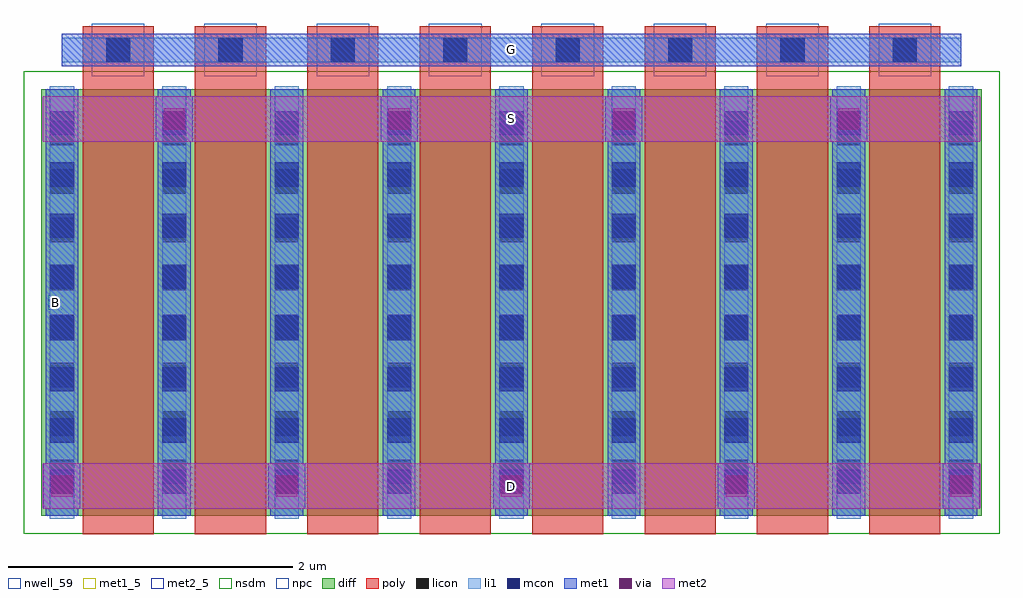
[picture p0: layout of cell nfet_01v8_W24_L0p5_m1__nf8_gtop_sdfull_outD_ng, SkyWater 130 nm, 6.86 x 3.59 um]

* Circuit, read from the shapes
.subckt nfet_01v8_W24_L0p5_m1__nf8_gtop_sdfull_outD_ng B D G S
XM1 S G D B sky130_fd_pr__nfet_01v8 w=3 l=0.5 m=8
.ends

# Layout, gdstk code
import gdstk
lib = gdstk.Library(unit=1e-6, precision=1e-09)
def R(c, l, rs):  # rectangles x0, y0, x1, y1
    for r in rs: c.add(gdstk.rectangle(r[:2], r[2:], *l))
def A(c, l, x, y, w, h, nx, ny, dx, dy):  # array of equal rectangles
    R(c, l, [(x+i*dx, y+j*dy, x+i*dx+w, y+j*dy+h) for i in range(nx) for j in range(ny)])
nwell_59 = (64, 59)
diff = (65, 20)
poly = (66, 20)
licon = (66, 44)
li1 = (67, 20)
mcon = (67, 44)
met1_5 = (68, 5)
met1 = (68, 20)
via = (68, 44)
met2_5 = (69, 5)
met2 = (69, 20)
nsdm = (93, 44)
npc = (95, 20)

sky130_fd_pr__nfet_01v8_ = lib.new_cell('sky130_fd_pr__nfet_01v8_KNT2EL')
R(sky130_fd_pr__nfet_01v8_, diff, [(-3.305,-1.655,3.305,1.345)])
A(sky130_fd_pr__nfet_01v8_, poly, -3.015, -1.785, 0.5, 3.57, 8, 1, 0.79, 0)
A(sky130_fd_pr__nfet_01v8_, licon, -3.245, -1.43, 0.17, 0.17, 9, 8, 0.79, 0.34)
A(sky130_fd_pr__nfet_01v8_, licon, -2.85, 1.535, 0.17, 0.17, 8, 1, 0.79, 0)
A(sky130_fd_pr__nfet_01v8_, li1, -3.245, -1.675, 0.17, 3.04, 9, 1, 0.79, 0)
R(sky130_fd_pr__nfet_01v8_, li1, [(-3.16,1.535,3.16,1.705)])
A(sky130_fd_pr__nfet_01v8_, mcon, -3.245, -1.5, 0.17, 0.17, 9, 8, 0.79, 0.36)
A(sky130_fd_pr__nfet_01v8_, mcon, -2.85, 1.535, 0.17, 0.17, 8, 1, 0.79, 0)
A(sky130_fd_pr__nfet_01v8_, met1, -3.275, -1.655, 0.23, 3, 9, 1, 0.79, 0)
A(sky130_fd_pr__nfet_01v8_, met1, -2.995, 1.505, 0.46, 0.03, 8, 2, 0.79, 0.2)
R(sky130_fd_pr__nfet_01v8_, met1, [(-3.16,1.535,3.16,1.705)])
R(sky130_fd_pr__nfet_01v8_, nsdm, [(-3.43,-1.78,3.43,1.47)])
A(sky130_fd_pr__nfet_01v8_, npc, -2.95, 1.435, 0.37, 0.37, 8, 1, 0.79, 0)
sky130_fd_pr__nfet_01v8_.add(gdstk.Label('D0', (-3.16,-0.155), layer=67, texttype=5))
sky130_fd_pr__nfet_01v8_.add(gdstk.Label('G', (2.765,1.62), layer=67, texttype=5))
sky130_fd_pr__nfet_01v8_.add(gdstk.Label('G', (1.975,1.62), layer=67, texttype=5))
sky130_fd_pr__nfet_01v8_.add(gdstk.Label('G', (1.185,1.62), layer=67, texttype=5))
sky130_fd_pr__nfet_01v8_.add(gdstk.Label('G', (0.395,1.62), layer=67, texttype=5))
sky130_fd_pr__nfet_01v8_.add(gdstk.Label('G', (-0.395,1.62), layer=67, texttype=5))
sky130_fd_pr__nfet_01v8_.add(gdstk.Label('G', (-1.185,1.62), layer=67, texttype=5))
sky130_fd_pr__nfet_01v8_.add(gdstk.Label('G', (-1.975,1.62), layer=67, texttype=5))
sky130_fd_pr__nfet_01v8_.add(gdstk.Label('G', (-2.765,1.62), layer=67, texttype=5))
sky130_fd_pr__nfet_01v8_.add(gdstk.Label('S1', (-2.37,-0.155), layer=67, texttype=5))
sky130_fd_pr__nfet_01v8_.add(gdstk.Label('D2', (-1.58,-0.155), layer=67, texttype=5))
sky130_fd_pr__nfet_01v8_.add(gdstk.Label('S3', (-0.79,-0.155), layer=67, texttype=5))
sky130_fd_pr__nfet_01v8_.add(gdstk.Label('D4', (0,-0.155), layer=67, texttype=5))
sky130_fd_pr__nfet_01v8_.add(gdstk.Label('S5', (0.79,-0.155), layer=67, texttype=5))
sky130_fd_pr__nfet_01v8_.add(gdstk.Label('D6', (1.58,-0.155), layer=67, texttype=5))
sky130_fd_pr__nfet_01v8_.add(gdstk.Label('S7', (2.37,-0.155), layer=67, texttype=5))

nfet_01v8_w24_l0p5_m1__n = lib.new_cell('nfet_01v8_W24_L0p5_m1__nf8_gtop_sdfull_outD_ng')
R(nfet_01v8_w24_l0p5_m1__n, nwell_59, [(0.05,1.58,0.15,1.68)])
R(nfet_01v8_w24_l0p5_m1__n, met1_5, [(0.145,3.29,6.465,3.52)])
A(nfet_01v8_w24_l0p5_m1__n, met1, 0.015, 0.18, 0.26, 0.32, 5, 1, 1.58, 0)
A(nfet_01v8_w24_l0p5_m1__n, met1, 0.805, 2.76, 0.26, 0.32, 4, 1, 1.58, 0)
R(nfet_01v8_w24_l0p5_m1__n, met1, [(0.145,3.29,6.465,3.52)])
A(nfet_01v8_w24_l0p5_m1__n, via, 0.07, 0.265, 0.15, 0.15, 5, 1, 1.58, 0)
A(nfet_01v8_w24_l0p5_m1__n, via, 0.86, 2.845, 0.15, 0.15, 4, 1, 1.58, 0)
R(nfet_01v8_w24_l0p5_m1__n, met2_5, [(0.01,0.18,6.6,0.5), (0.01,2.76,6.6,3.08)])
R(nfet_01v8_w24_l0p5_m1__n, met2, [(0.01,0.18,6.6,0.5), (0.01,2.76,6.6,3.08)])
nfet_01v8_w24_l0p5_m1__n.add(gdstk.Reference(sky130_fd_pr__nfet_01v8_, (3.305,1.785)))
nfet_01v8_w24_l0p5_m1__n.add(gdstk.Label('S', (3.305,2.92), layer=69, texttype=5))
nfet_01v8_w24_l0p5_m1__n.add(gdstk.Label('D', (3.305,0.34), layer=69, texttype=5))
nfet_01v8_w24_l0p5_m1__n.add(gdstk.Label('G', (3.305,3.405), layer=68, texttype=5))
nfet_01v8_w24_l0p5_m1__n.add(gdstk.Label('B', (0.1,1.63), layer=64, texttype=59))

lib.write_gds('nfet_01v8_W24_L0p5_m1__nf8_gtop_sdfull_outD_ng.gds')
